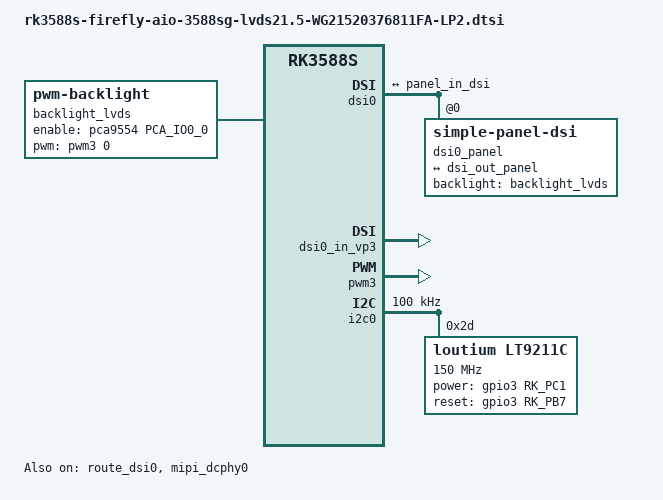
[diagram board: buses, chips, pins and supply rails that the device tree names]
// SPDX-License-Identifier: (GPL-2.0+ OR MIT)
/*
 * Copyright (c) 2021 Rockchip Electronics Co., Ltd.
 *
 */

/ {
        backlight_lvds: backlight{
                status = "okay";
                compatible = "pwm-backlight"; 
                enable-gpios = <&pca9554 PCA_IO0_0 GPIO_ACTIVE_HIGH>;
		        pwms = <&pwm3 0 50000 1>; 
               brightness-levels = <
                        0   1   2   3   4   5   6   7
                        8   9  10  11  12  13  14  15
                        16  17  18  19  20  21  22  23
                        24  25  26  27  28  29  30  31
                        32  33  34  35  36  37  38  39
                        40  41  42  43  44  45  46  47
                        48  49  50  51  52  53  54  55
                        56  57  58  59  60  61  62  63
                        64  65  66  67  68  69  70  71
                        72  73  74  75  76  77  78  79
                        80  81  82  83  84  85  86  87
                        88  89  90  91  92  93  94  95
                        96  97  98  99 100 101 102 103
                        104 105 106 107 108 109 110 111
                        112 113 114 115 116 117 118 119
                        120 121 122 123 124 125 126 127
                        128 129 130 131 132 133 134 135
                        136 137 138 139 140 141 142 143
                        144 145 146 147 148 149 150 151
                        152 153 154 155 156 157 158 159
                        160 161 162 163 164 165 166 167
                        168 169 170 171 172 173 174 175
                        176 177 178 179 180 181 182 183
                        184 185 186 187 188 189 190 191
                        192 193 194 195 196 197 198 199
                        200 201 202 203 204 205 206 207
                        208 209 210 211 212 213 214 215
                        216 217 218 219 220 221 222 223
                        224 225 226 227 228 229 230 231
                        232 233 234 235 236 237 238 239
                        240 241 242 243 244 245 246 247
                        248 249 250 251 252 253 254 255>;
                default-brightness-level = <0>;
    };
};


&dsi0 {
    status = "okay";
    //rockchip,lane-rate = <1000>;
    dsi0_panel: panel@0 {
        status = "okay";
        compatible = "simple-panel-dsi";
        reg = <0>;
        backlight = <&backlight_lvds>;

        dsi,flags = <(MIPI_DSI_MODE_VIDEO | MIPI_DSI_MODE_VIDEO_BURST | MIPI_DSI_MODE_LPM | MIPI_DSI_MODE_EOT_PACKET)>;
        dsi,format = <MIPI_DSI_FMT_RGB888>;
        dsi,lanes  = <4>;
 
        display-timings {
                        native-mode = <&timing0>;
                        timing0: timing0 {
                                clock-frequency = <150000000>; //166000000 @50
                                hactive = <1920>;
                                vactive = <1080>;
                                hsync-len = <10>;   //20, 50
                                hback-porch = <10>; //50, 56
                                hfront-porch = <282>;//50, 30 //1580
                                vsync-len = <10>;
                                vback-porch = <25>;
                                vfront-porch = <10>;
                                hsync-active = <0>;
                                vsync-active = <0>;
                                de-active = <0>;
                                pixelclk-active = <0>;

                        };
	        };

        ports {
            #address-cells = <1>;
            #size-cells = <0>;

            port@0 {
                reg = <0>;
                panel_in_dsi: endpoint {
                    remote-endpoint = <&dsi_out_panel>;
                };
            };
        };
    };

    ports {
        #address-cells = <1>;
        #size-cells = <0>;

        port@1 {
            reg = <1>;
            dsi_out_panel: endpoint {
            remote-endpoint = <&panel_in_dsi>;
            };
        };
    };
};


&dsi0_in_vp2 {
    status = "disabled";
};

&dsi0_in_vp3 {
    status = "okay";
};

&route_dsi0 {
	status = "okay";
	connect = <&vp3_out_dsi0>;
};

&mipi_dcphy0 {
	status = "okay";
};

&pwm3 {
    pinctrl-0 = <&pwm3m1_pins>;
    status = "okay";
};



&i2c0{
		status = "okay";
                pinctrl-names = "default";
	            pinctrl-0 = <&i2c0m2_xfer>;
                clock-frequency = <100000>;
                lt9211c:lt9211c@2d{
                        status = "okay";
                        compatible = "loutium, LT9211C";
                        reg = <0x2d>;

                        power-gpio = <&gpio3 RK_PC1 GPIO_ACTIVE_HIGH>;
                        reset-gpio = <&gpio3 RK_PB7 GPIO_ACTIVE_HIGH>;

                        mod = "mipi_in_lvds_out";  //pattern_out/mipi_in_lvds_out
                        lvdstx_port_swap = "disabled"; //enabled/disabled
                        lvdstx_port_sel = "dou_port "; // porta/portb/dou_port  

                        clock-frequency = <150000000>;
                        hactive = <1920>;
                        vactive = <1080>;
                        hsync-len = <10>;
                        hback-porch = <10>; 
                        hfront-porch = <282>;
                        vsync-len = <10>;
                        vback-porch = <25>;
                        vfront-porch = <10>;
                        frameRate = <60>;
                };
};
